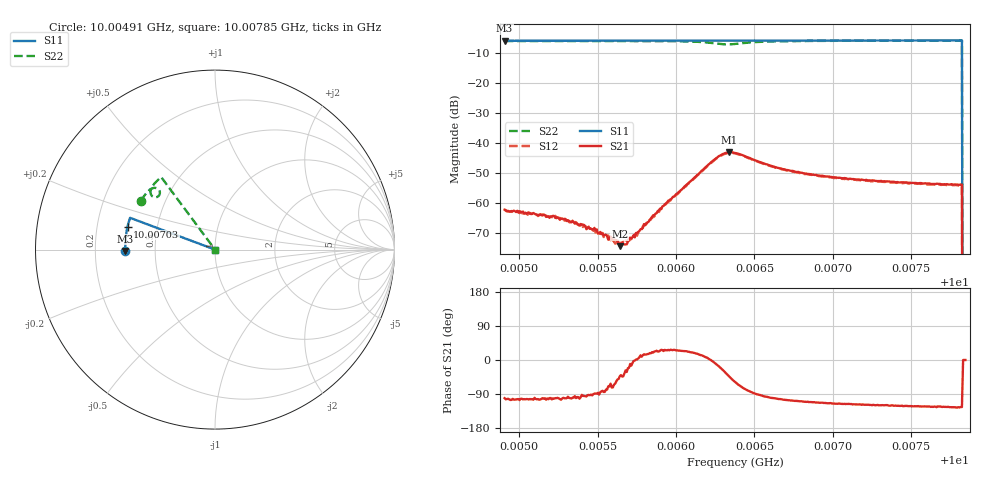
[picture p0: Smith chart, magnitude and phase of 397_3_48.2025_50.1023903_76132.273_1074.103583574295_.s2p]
#  HZ  S  RI  R  50.00
! Rohde & Schwarz Vector Network Analyzer
! Rohde-Schwarz,ZNB20-2Port,1311601062101988,3.16
! Created: UTC 3/20/2024, 11:53:52 AM
! freq[Hz]  re:S11  im:S11  re:S21  im:S21  re:S12  im:S12  re:S22  im:S22
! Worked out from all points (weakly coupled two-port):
!   401 points, 10.00491 GHz to 10.00785 GHz, reference 50 ohm
!   highest |S21| = -43.10 dB at 10.00634 GHz (marker M1); lowest = -74.3 dB at 10.00564 GHz (marker M2)
!   lowest |S11| = -6.0 dB at 10.00491 GHz (marker M3), VSWR 2.99, Z = 16.7 - j0.368 ohm
!   |S11| at or under -10 dB: 10.00782 GHz to end of sweep
!   |S22| runs from - to -6.0 dB; largest |S21 - S12| = 0.00041
!   S11 on the Smith chart (normalised r, x): 10.00491 GHz: 0.33, -0.01; 10.00703 GHz: 0.33, +0.11; 10.00785 GHz: 1.00, +0.00
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1.0004907e10  -0.4992 -0.00826  -0.000145 -0.000764  -0.000142 -0.000721  -0.4127 0.2719
1.0005245e10  -0.4999 0.0137  -9.86e-05 -0.000563  -7.92e-05 -0.000579  -0.4002 0.2921
1.0005399e10  -0.4998 0.0237  -1.46e-05 -0.000435  -1.91e-05 -0.000443  -0.3935 0.3013
1.000548e10  -0.4997 0.029  8.29e-06 -0.000387  -1.34e-05 -0.000354  -0.3899 0.306
1.0005561e10  -0.4994 0.0342  5.84e-05 -0.000275  6.88e-05 -0.00028  -0.3862 0.311
1.0005605e10  -0.4994 0.037  0.000105 -0.000223  8.45e-05 -0.000213  -0.3839 0.3137
1.0005642e10  -0.4993 0.0394  0.000141 -0.000131  0.000162 -0.000151  -0.382 0.316
1.0005679e10  -0.4992 0.0418  0.000183 -9.48e-05  0.00021 -0.000116  -0.3802 0.3183
1.0005715e10  -0.499 0.0442  0.000249 -6.63e-05  0.000251 -3.91e-05  -0.3778 0.3206
1.0005767e10  -0.4988 0.0475  0.000342 4.42e-05  0.000321 4.01e-05  -0.3749 0.3237
1.0005796e10  -0.4987 0.0493  0.000432 0.000116  0.000416 0.000127  -0.373 0.3257
1.0005892e10  -0.4982 0.0556  0.000708 0.000293  0.000643 0.000305  -0.366 0.3319
1.0006237e10  -0.4956 0.0779  0.00506 -0.000392  0.00496 -0.000143  -0.3121 0.3325
1.0006289e10  -0.4951 0.081  0.00583 -0.00241  0.00582 -0.00206  -0.3071 0.3141
1.000634e10  -0.4946 0.084  0.00507 -0.00482  0.00516 -0.00445  -0.3178 0.2957
1.0006377e10  -0.4943 0.0861  0.00365 -0.00579  0.00384 -0.00548  -0.3319 0.2912
1.0006649e10  -0.4921 0.1036  -0.000823 -0.00377  -0.00064 -0.00375  -0.358 0.3332
1.0006869e10  -0.4894 0.1175  -0.00107 -0.00276  -0.000943 -0.00278  -0.3482 0.3533
1.0007031e10  -0.4872 0.1277  -0.00114 -0.00239  -0.000973 -0.00243  -0.3402 0.3641
1.0007362e10  -0.4819 0.1484  -0.00116 -0.00197  -0.00103 -0.00195  -0.3236 0.3825
1.000781e10  -0.4735 0.176  -0.00116 -0.00165  -0.00102 -0.00166  -0.3007 0.4034
1.0007847e10  0 0  0 0  0 0  0 0
